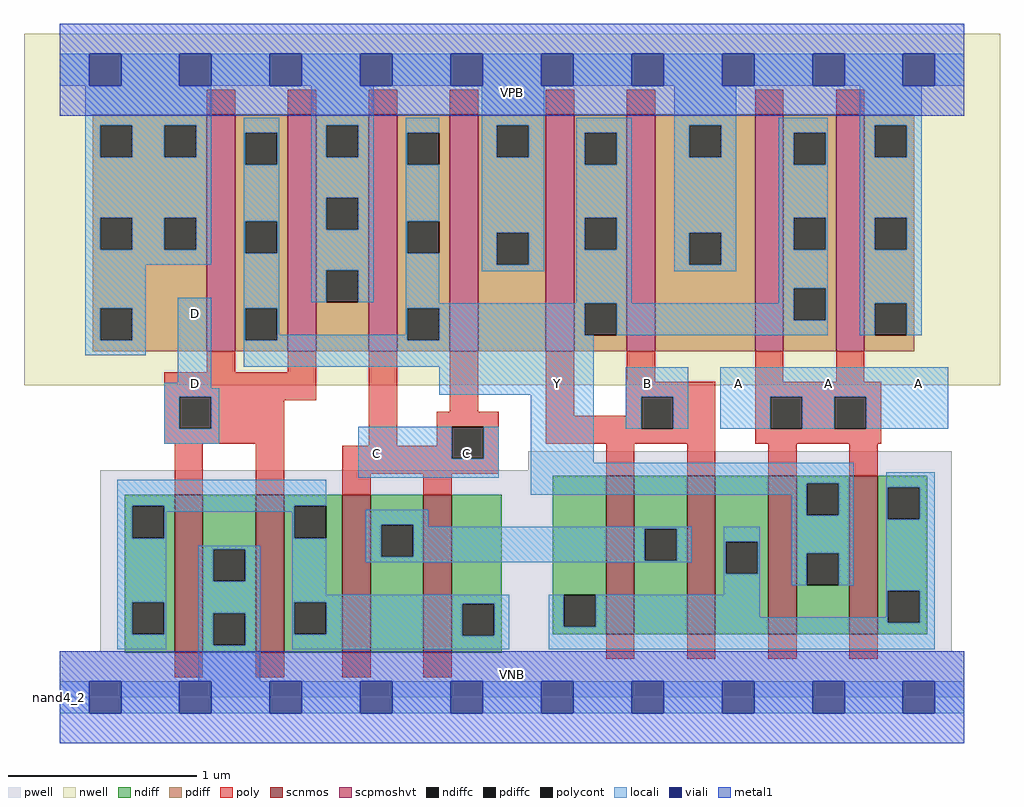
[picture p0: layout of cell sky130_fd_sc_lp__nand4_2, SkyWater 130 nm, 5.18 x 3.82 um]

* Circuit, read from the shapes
.subckt sky130_fd_sc_lp__nand4_2 A B C D VGND VNB VPB VPWR Y
XM1 VGND D n1 VNB sky130_fd_pr__nfet_01v8 w=0.84 l=0.15 m=2
XM2 n2 C n1 VNB sky130_fd_pr__nfet_01v8 w=0.84 l=0.15 m=2
XM3 n2 B n3 VNB sky130_fd_pr__nfet_01v8 w=0.84 l=0.15 m=2
XM4 Y A n3 VNB sky130_fd_pr__nfet_01v8 w=0.84 l=0.15 m=2
XM5 Y D VPWR VPB sky130_fd_pr__pfet_01v8_hvt w=1.26 l=0.15 m=2
XM6 Y C VPWR VPB sky130_fd_pr__pfet_01v8_hvt w=1.26 l=0.15 m=2
XM7 Y B VPWR VPB sky130_fd_pr__pfet_01v8_hvt w=1.26 l=0.15 m=2
XM8 Y A VPWR VPB sky130_fd_pr__pfet_01v8_hvt w=1.26 l=0.15 m=2
.ends

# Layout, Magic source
magic
tech sky130A
magscale 1 2
<< nwell >>
rect -38 331 998 704
<< pwell >>
rect 497 241 947 261
rect 43 49 947 241
rect 0 0 960 49
<< scnmos >>
rect 122 47 152 215
rect 208 47 238 215
rect 300 47 330 215
rect 386 47 416 215
rect 580 67 610 235
rect 666 67 696 235
rect 752 67 782 235
rect 838 67 868 235
<< scpmoshvt >>
rect 156 367 186 619
rect 242 367 272 619
rect 328 367 358 619
rect 414 367 444 619
rect 516 367 546 619
rect 602 367 632 619
rect 738 367 768 619
rect 824 367 854 619
<< ndiff >>
rect 69 203 122 215
rect 69 169 77 203
rect 111 169 122 203
rect 69 101 122 169
rect 69 67 77 101
rect 111 67 122 101
rect 69 47 122 67
rect 152 157 208 215
rect 152 123 163 157
rect 197 123 208 157
rect 152 89 208 123
rect 152 55 163 89
rect 197 55 208 89
rect 152 47 208 55
rect 238 203 300 215
rect 238 169 249 203
rect 283 169 300 203
rect 238 101 300 169
rect 238 67 249 101
rect 283 67 300 101
rect 238 47 300 67
rect 330 183 386 215
rect 330 149 341 183
rect 375 149 386 183
rect 330 47 386 149
rect 416 99 469 215
rect 416 65 427 99
rect 461 65 469 99
rect 523 109 580 235
rect 523 75 535 109
rect 569 75 580 109
rect 523 67 580 75
rect 610 179 666 235
rect 610 145 621 179
rect 655 145 666 179
rect 610 67 666 145
rect 696 165 752 235
rect 696 131 707 165
rect 741 131 752 165
rect 696 67 752 131
rect 782 227 838 235
rect 782 193 793 227
rect 827 193 838 227
rect 782 153 838 193
rect 782 119 793 153
rect 827 119 838 153
rect 782 67 838 119
rect 868 223 921 235
rect 868 189 879 223
rect 913 189 921 223
rect 868 113 921 189
rect 868 79 879 113
rect 913 79 921 113
rect 868 67 921 79
rect 416 47 469 65
<< pdiff >>
rect 35 607 156 619
rect 35 573 43 607
rect 77 573 111 607
rect 145 573 156 607
rect 35 509 156 573
rect 35 475 43 509
rect 77 475 111 509
rect 145 475 156 509
rect 35 413 156 475
rect 35 379 43 413
rect 77 379 156 413
rect 35 367 156 379
rect 186 599 242 619
rect 186 565 197 599
rect 231 565 242 599
rect 186 505 242 565
rect 186 471 197 505
rect 231 471 242 505
rect 186 413 242 471
rect 186 379 197 413
rect 231 379 242 413
rect 186 367 242 379
rect 272 607 328 619
rect 272 573 283 607
rect 317 573 328 607
rect 272 530 328 573
rect 272 496 283 530
rect 317 496 328 530
rect 272 453 328 496
rect 272 419 283 453
rect 317 419 328 453
rect 272 367 328 419
rect 358 599 414 619
rect 358 565 369 599
rect 403 565 414 599
rect 358 505 414 565
rect 358 471 369 505
rect 403 471 414 505
rect 358 413 414 471
rect 358 379 369 413
rect 403 379 414 413
rect 358 367 414 379
rect 444 607 516 619
rect 444 573 464 607
rect 498 573 516 607
rect 444 493 516 573
rect 444 459 464 493
rect 498 459 516 493
rect 444 367 516 459
rect 546 599 602 619
rect 546 565 557 599
rect 591 565 602 599
rect 546 509 602 565
rect 546 475 557 509
rect 591 475 602 509
rect 546 418 602 475
rect 546 384 557 418
rect 591 384 602 418
rect 546 367 602 384
rect 632 607 738 619
rect 632 573 668 607
rect 702 573 738 607
rect 632 493 738 573
rect 632 459 668 493
rect 702 459 738 493
rect 632 367 738 459
rect 768 599 824 619
rect 768 565 779 599
rect 813 565 824 599
rect 768 509 824 565
rect 768 475 779 509
rect 813 475 824 509
rect 768 434 824 475
rect 768 400 779 434
rect 813 400 824 434
rect 768 367 824 400
rect 854 607 907 619
rect 854 573 865 607
rect 899 573 907 607
rect 854 509 907 573
rect 854 475 865 509
rect 899 475 907 509
rect 854 418 907 475
rect 854 384 865 418
rect 899 384 907 418
rect 854 367 907 384
<< ndiffc >>
rect 77 169 111 203
rect 77 67 111 101
rect 163 123 197 157
rect 163 55 197 89
rect 249 169 283 203
rect 249 67 283 101
rect 341 149 375 183
rect 427 65 461 99
rect 535 75 569 109
rect 621 145 655 179
rect 707 131 741 165
rect 793 193 827 227
rect 793 119 827 153
rect 879 189 913 223
rect 879 79 913 113
<< pdiffc >>
rect 43 573 77 607
rect 111 573 145 607
rect 43 475 77 509
rect 111 475 145 509
rect 43 379 77 413
rect 197 565 231 599
rect 197 471 231 505
rect 197 379 231 413
rect 283 573 317 607
rect 283 496 317 530
rect 283 419 317 453
rect 369 565 403 599
rect 369 471 403 505
rect 369 379 403 413
rect 464 573 498 607
rect 464 459 498 493
rect 557 565 591 599
rect 557 475 591 509
rect 557 384 591 418
rect 668 573 702 607
rect 668 459 702 493
rect 779 565 813 599
rect 779 475 813 509
rect 779 400 813 434
rect 865 573 899 607
rect 865 475 899 509
rect 865 384 899 418
<< poly >>
rect 156 619 186 645
rect 242 619 272 645
rect 328 619 358 645
rect 414 619 444 645
rect 516 619 546 645
rect 602 619 632 645
rect 738 619 768 645
rect 824 619 854 645
rect 156 345 186 367
rect 242 345 272 367
rect 111 319 272 345
rect 111 285 127 319
rect 161 315 272 319
rect 161 285 238 315
rect 111 269 238 285
rect 122 215 152 269
rect 208 215 238 269
rect 328 267 358 367
rect 414 303 444 367
rect 400 287 466 303
rect 400 267 416 287
rect 300 253 416 267
rect 450 253 466 287
rect 516 299 546 367
rect 602 335 632 367
rect 738 335 768 367
rect 824 335 854 367
rect 601 319 696 335
rect 601 299 617 319
rect 516 285 617 299
rect 651 285 696 319
rect 516 269 696 285
rect 738 319 872 335
rect 738 285 754 319
rect 788 285 822 319
rect 856 285 872 319
rect 738 269 872 285
rect 300 237 466 253
rect 300 215 330 237
rect 386 215 416 237
rect 580 235 610 269
rect 666 235 696 269
rect 752 235 782 269
rect 838 235 868 269
rect 122 21 152 47
rect 208 21 238 47
rect 300 21 330 47
rect 386 21 416 47
rect 580 41 610 67
rect 666 41 696 67
rect 752 41 782 67
rect 838 41 868 67
<< polycont >>
rect 127 285 161 319
rect 416 253 450 287
rect 617 285 651 319
rect 754 285 788 319
rect 822 285 856 319
<< locali >>
rect 0 649 31 683
rect 65 649 127 683
rect 161 649 223 683
rect 257 649 319 683
rect 353 649 415 683
rect 449 649 511 683
rect 545 649 607 683
rect 641 649 703 683
rect 737 649 799 683
rect 833 649 895 683
rect 929 649 960 683
rect 27 607 161 649
rect 27 573 43 607
rect 77 573 111 607
rect 145 573 161 607
rect 27 509 161 573
rect 27 475 43 509
rect 77 475 111 509
rect 145 475 161 509
rect 27 459 161 475
rect 195 599 233 615
rect 195 565 197 599
rect 231 565 233 599
rect 195 505 233 565
rect 195 471 197 505
rect 231 471 233 505
rect 27 413 91 459
rect 27 379 43 413
rect 77 379 91 413
rect 27 363 91 379
rect 125 334 161 424
rect 195 413 233 471
rect 267 607 333 649
rect 267 573 283 607
rect 317 573 333 607
rect 267 530 333 573
rect 267 496 283 530
rect 317 496 333 530
rect 267 453 333 496
rect 267 419 283 453
rect 317 419 333 453
rect 367 599 403 615
rect 367 565 369 599
rect 367 505 403 565
rect 367 471 369 505
rect 195 379 197 413
rect 231 385 233 413
rect 367 418 403 471
rect 448 607 514 649
rect 448 573 464 607
rect 498 573 514 607
rect 448 493 514 573
rect 448 459 464 493
rect 498 459 514 493
rect 448 452 514 459
rect 548 599 607 615
rect 548 565 557 599
rect 591 565 607 599
rect 548 509 607 565
rect 548 475 557 509
rect 591 475 607 509
rect 548 418 607 475
rect 652 607 718 649
rect 652 573 668 607
rect 702 573 718 607
rect 652 493 718 573
rect 652 459 668 493
rect 702 459 718 493
rect 652 452 718 459
rect 763 599 815 615
rect 763 565 779 599
rect 813 565 815 599
rect 763 509 815 565
rect 763 475 779 509
rect 813 475 815 509
rect 763 434 815 475
rect 763 418 779 434
rect 367 413 557 418
rect 367 385 369 413
rect 231 379 369 385
rect 403 384 557 413
rect 591 400 779 418
rect 813 400 815 434
rect 591 384 815 400
rect 849 607 915 649
rect 849 573 865 607
rect 899 573 915 607
rect 849 509 915 573
rect 849 475 865 509
rect 899 475 915 509
rect 849 418 915 475
rect 849 384 865 418
rect 899 384 915 418
rect 403 379 567 384
rect 195 351 567 379
rect 111 328 161 334
rect 111 319 169 328
rect 403 321 567 351
rect 111 285 127 319
rect 161 285 169 319
rect 111 269 169 285
rect 317 253 416 287
rect 450 253 466 287
rect 317 233 466 253
rect 500 249 567 321
rect 601 319 667 350
rect 601 285 617 319
rect 651 285 667 319
rect 701 319 943 350
rect 701 285 754 319
rect 788 285 822 319
rect 856 285 943 319
rect 61 203 283 231
rect 500 227 843 249
rect 500 215 793 227
rect 61 169 77 203
rect 111 197 249 203
rect 111 169 113 197
rect 61 101 113 169
rect 247 169 249 197
rect 61 67 77 101
rect 111 67 113 101
rect 61 51 113 67
rect 147 157 213 161
rect 147 123 163 157
rect 197 123 213 157
rect 147 89 213 123
rect 147 55 163 89
rect 197 55 213 89
rect 147 17 213 55
rect 247 109 283 169
rect 325 183 391 199
rect 325 149 341 183
rect 375 181 391 183
rect 777 193 793 215
rect 827 193 843 227
rect 375 179 671 181
rect 375 149 621 179
rect 325 145 621 149
rect 655 145 671 179
rect 325 143 671 145
rect 705 165 743 181
rect 705 131 707 165
rect 741 131 743 165
rect 705 109 743 131
rect 777 153 843 193
rect 777 119 793 153
rect 827 119 843 153
rect 877 223 929 239
rect 877 189 879 223
rect 913 189 929 223
rect 247 101 477 109
rect 247 67 249 101
rect 283 99 477 101
rect 283 67 427 99
rect 247 65 427 67
rect 461 65 477 99
rect 247 51 477 65
rect 519 75 535 109
rect 569 85 743 109
rect 877 113 929 189
rect 877 85 879 113
rect 569 79 879 85
rect 913 79 929 113
rect 569 75 929 79
rect 519 51 929 75
rect 0 -17 31 17
rect 65 -17 127 17
rect 161 -17 223 17
rect 257 -17 319 17
rect 353 -17 415 17
rect 449 -17 511 17
rect 545 -17 607 17
rect 641 -17 703 17
rect 737 -17 799 17
rect 833 -17 895 17
rect 929 -17 960 17
<< viali >>
rect 31 649 65 683
rect 127 649 161 683
rect 223 649 257 683
rect 319 649 353 683
rect 415 649 449 683
rect 511 649 545 683
rect 607 649 641 683
rect 703 649 737 683
rect 799 649 833 683
rect 895 649 929 683
rect 31 -17 65 17
rect 127 -17 161 17
rect 223 -17 257 17
rect 319 -17 353 17
rect 415 -17 449 17
rect 511 -17 545 17
rect 607 -17 641 17
rect 703 -17 737 17
rect 799 -17 833 17
rect 895 -17 929 17
<< metal1 >>
rect 0 683 960 715
rect 0 649 31 683
rect 65 649 127 683
rect 161 649 223 683
rect 257 649 319 683
rect 353 649 415 683
rect 449 649 511 683
rect 545 649 607 683
rect 641 649 703 683
rect 737 649 799 683
rect 833 649 895 683
rect 929 649 960 683
rect 0 617 960 649
rect 0 17 960 49
rect 0 -17 31 17
rect 65 -17 127 17
rect 161 -17 223 17
rect 257 -17 319 17
rect 353 -17 415 17
rect 449 -17 511 17
rect 545 -17 607 17
rect 641 -17 703 17
rect 737 -17 799 17
rect 833 -17 895 17
rect 929 -17 960 17
rect 0 -49 960 -17
<< labels >>
flabel pwell s 0 0 960 49 0 FreeSans 200 0 0 0 VNB
port 6 nsew ground bidirectional
flabel nwell s 0 617 960 666 0 FreeSans 200 0 0 0 VPB
port 7 nsew power bidirectional
rlabel comment s 0 0 0 0 4 nand4_2
flabel metal1 s 0 617 960 666 0 FreeSans 340 0 0 0 VPWR
port 8 nsew power bidirectional
flabel metal1 s 0 0 960 49 0 FreeSans 340 0 0 0 VGND
port 5 nsew ground bidirectional
flabel locali s 511 316 545 350 0 FreeSans 340 0 0 0 Y
port 9 nsew signal output
flabel locali s 703 316 737 350 0 FreeSans 340 0 0 0 A
port 1 nsew signal input
flabel locali s 799 316 833 350 0 FreeSans 340 0 0 0 A
port 1 nsew signal input
flabel locali s 895 316 929 350 0 FreeSans 340 0 0 0 A
port 1 nsew signal input
flabel locali s 607 316 641 350 0 FreeSans 340 0 0 0 B
port 2 nsew signal input
flabel locali s 319 242 353 276 0 FreeSans 340 0 0 0 C
port 3 nsew signal input
flabel locali s 415 242 449 276 0 FreeSans 340 0 0 0 C
port 3 nsew signal input
flabel locali s 127 316 161 350 0 FreeSans 340 0 0 0 D
port 4 nsew signal input
flabel locali s 127 390 161 424 0 FreeSans 340 0 0 0 D
port 4 nsew signal input
<< properties >>
string LEFsite unit
string LEFclass CORE
string FIXED_BBOX 0 0 960 666
string GDS_FILE $PDKPATH/libs.ref/sky130_fd_sc_lp/gds/sky130_fd_sc_lp.gds
string LEFsymmetry X Y R90
string GDS_END 4631382
string GDS_START 4622602
<< end >>
